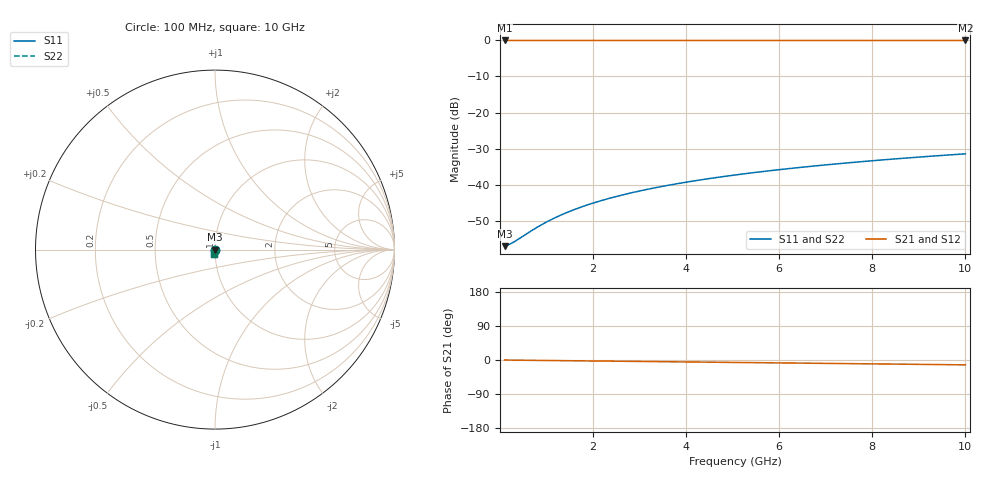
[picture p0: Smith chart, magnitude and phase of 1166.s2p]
# Hz S RI R 50.00
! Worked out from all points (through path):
!   100 points, 100 MHz to 10 GHz, reference 50 ohm
!   highest |S21| = -0.01 dB at 100 MHz (marker M1); lowest = 0.0 dB at 10 GHz (marker M2)
!   group delay of S21, straight-line fit = 3.55 ps
!   lowest |S11| = -57.1 dB at 100 MHz (marker M3), VSWR 1.00, Z = 50.1 - j0.0271 ohm
!   |S11| at or under -10 dB: start of sweep to end of sweep
!   |S22| runs from -57.1 to -31.5 dB; largest |S21 - S12| = 0
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1e8  0.00137 -0.000271  0.9986 -0.00222  0.9986 -0.00222  0.00137 -0.000271
2e8  0.00138 -0.000541  0.9986 -0.00445  0.9986 -0.00445  0.00138 -0.000541
3e8  0.00138 -0.000812  0.9986 -0.00667  0.9986 -0.00667  0.00138 -0.000812
8e8  0.00137 -0.00217  0.9984 -0.0178  0.9984 -0.0178  0.00137 -0.00217
9e8  0.00136 -0.00244  0.9984 -0.02  0.9984 -0.02  0.00136 -0.00244
1.1e9  0.00134 -0.00298  0.9983 -0.0245  0.9983 -0.0245  0.00134 -0.00298
1.4e9  0.0013 -0.00379  0.9981 -0.0311  0.9981 -0.0311  0.0013 -0.00379
1.6e9  0.00126 -0.00433  0.9979 -0.0356  0.9979 -0.0356  0.00126 -0.00433
1.8e9  0.00122 -0.00487  0.9977 -0.04  0.9977 -0.04  0.00122 -0.00487
2.1e9  0.00116 -0.00568  0.9974 -0.0467  0.9974 -0.0467  0.00116 -0.00568
2.5e9  0.00105 -0.00676  0.9969 -0.0556  0.9969 -0.0556  0.00105 -0.00676
2.9e9  0.000923 -0.00784  0.9964 -0.0645  0.9964 -0.0645  0.000923 -0.00784
3.4e9  0.000738 -0.00918  0.9956 -0.0756  0.9956 -0.0756  0.000738 -0.00918
3.8e9  0.000567 -0.0103  0.9948 -0.0844  0.9948 -0.0844  0.000567 -0.0103
4.2e9  0.000378 -0.0113  0.994 -0.0933  0.994 -0.0933  0.000378 -0.0113
4.6e9  0.000169 -0.0124  0.9931 -0.1022  0.9931 -0.1022  0.000169 -0.0124
5.1e9  -0.000118 -0.0137  0.9919 -0.1132  0.9919 -0.1132  -0.000118 -0.0137
5.9e9  -0.00064 -0.0158  0.9897 -0.1309  0.9897 -0.1309  -0.00064 -0.0158
6.7e9  -0.00124 -0.0179  0.9871 -0.1485  0.9871 -0.1485  -0.00124 -0.0179
7.5e9  -0.00191 -0.02  0.9842 -0.1661  0.9842 -0.1661  -0.00191 -0.02
8.4e9  -0.00275 -0.0223  0.9806 -0.1859  0.9806 -0.1859  -0.00275 -0.0223
1e10  -0.00448 -0.0263  0.9732 -0.2208  0.9732 -0.2208  -0.00448 -0.0263
